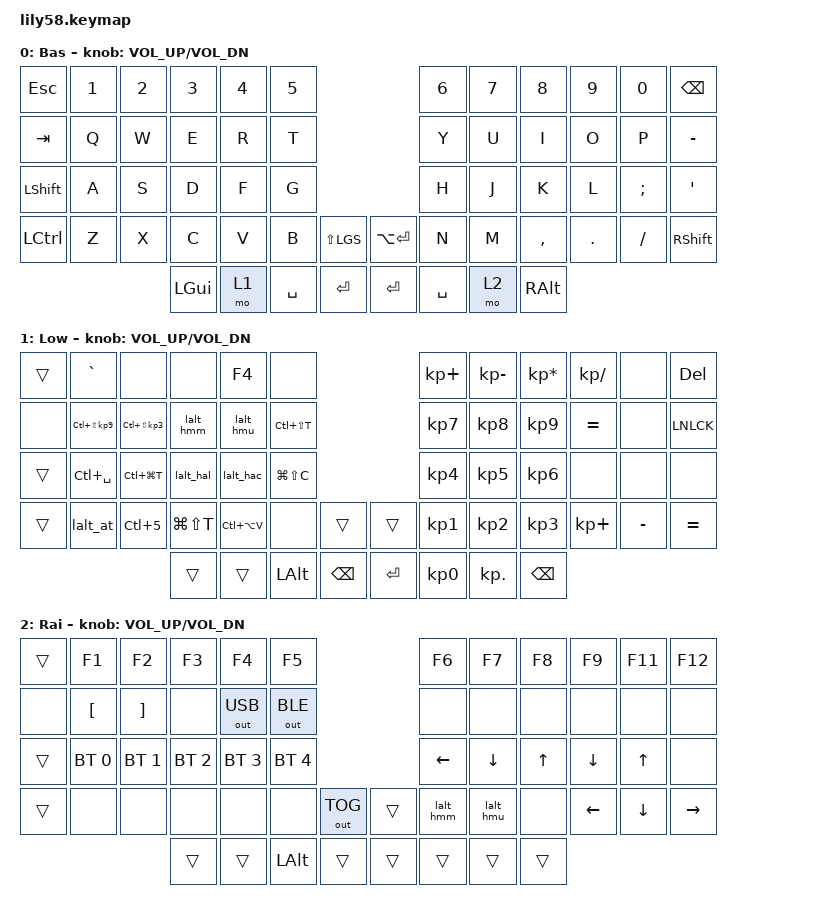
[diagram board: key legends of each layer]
/*
 * Copyright (c) 2020 The ZMK Contributors
 *
 * SPDX-License-Identifier: MIT
 */

#include <behaviors.dtsi>
#include <dt-bindings/zmk/bt.h>
#include <dt-bindings/zmk/keys.h>
#include <dt-bindings/zmk/outputs.h>

/ {
    macros {
        lalt_hmm: lalt_hmm {
            compatible = "zmk,behavior-macro";
            #binding-cells = <0>;
            bindings = <&kp LALT &kp H &kp M &kp M>;
        };

        lalt_hmu: lalt_hmu {
            compatible = "zmk,behavior-macro";
            #binding-cells = <0>;
            bindings = <&kp LALT &kp H &kp M &kp U>;
        };

        lalt_hac: lalt_hac {
            compatible = "zmk,behavior-macro";
            #binding-cells = <0>;
            bindings = <&kp LALT &kp H &kp A &kp C>;
        };

        lalt_hal: lalt_hal {
            compatible = "zmk,behavior-macro";
            #binding-cells = <0>;
            bindings = <&kp LALT &kp H &kp A &kp L>;
        };

        lalt_at: lalt_at {
            compatible = "zmk,behavior-macro";
            #binding-cells = <0>;
            bindings = <&kp LALT &kp A &kp T>;
        };
    };

    keymap {
        compatible = "zmk,keymap";

        default_layer {
            // ------------------------------------------------------------------------------------------------------------
            // |  ESC  |  1  |  2  |  3   |  4   |  5   |                   |  6   |  7    |  8    |  9   |   0   |   `   |
            // |  TAB  |  Q  |  W  |  E   |  R   |  T   |                   |  Y   |  U    |  I    |  O   |   P   |   -   |
            // |  CTRL |  A  |  S  |  D   |  F   |  G   |                   |  H   |  J    |  K    |  L   |   ;   |   '   |
            // | SHIFT |  Z  |  X  |  C   |  V   |  B   |   "["  |  |  "]"  |  N   |  M    |  ,    |  .   |   /   | SHIFT |
            //                     | ALT  | GUI  | LOWER|  SPACE |  | ENTER | RAISE| BSPC  | GUI   |

            display-name = "Bas";
            bindings = <
&kp ESC    &kp N1  &kp N2  &kp N3    &kp N4  &kp N5                                 &kp N6     &kp N7  &kp N8     &kp N9   &kp N0    &kp BSPC
&kp TAB    &kp Q   &kp W   &kp E     &kp R   &kp T                                  &kp Y      &kp U   &kp I      &kp O    &kp P     &kp MINUS
&kp LSHFT  &kp A   &kp S   &kp D     &kp F   &kp G                                  &kp H      &kp J   &kp K      &kp L    &kp SEMI  &kp SQT
&kp LCTRL  &kp Z   &kp X   &kp C     &kp V   &kp B      &kp LS(LGS)    &kp LA(RET)  &kp N      &kp M   &kp COMMA  &kp DOT  &kp FSLH  &kp RSHFT
                           &kp LGUI  &mo 1   &kp SPACE  &kp RET        &kp RET      &kp SPACE  &mo 2   &kp RALT
            >;

            sensor-bindings = <&inc_dec_kp C_VOL_UP C_VOL_DN>;
        };

        lower_layer {
            // ------------------------------------------------------------------------------------------------------------
            // | BTCLR | BT1 | BT2 |  BT3 |  BT4 |  BT5 |                   |      |       |       |      |       |       |
            // |  F1   |  F2 |  F3 |  F4  |  F5  |  F6  |                   |  F7  |  F8   |  F9   |  F10 |  F11  |  F12  |
            // |   `   |  !  |  @  |  #   |  $   |  %   |                   |  ^   |  &    |  *    |  (   |   )   |   ~   |
            // |       |     |     |      |      |      |        |  |       |      |  _    |  +    |  {   |   }   |  "|"  |
            //                     |      |      |      |        |  |       |      |       |       |

            display-name = "Low";
            bindings = <
&trans  &kp GRAVE          &none              &none          &kp F4         &none                               &kp KP_PLUS  &kp KP_MINUS  &kp KP_ASTERISK  &kp KP_SLASH  &none      &kp DEL
&none   &kp LC(LS(KP_N9))  &kp LC(LS(KP_N3))  &lalt_hmm      &lalt_hmu      &kp LC(LS(T))                       &kp KP_N7    &kp KP_N8     &kp KP_N9        &kp EQUAL     &none      &kp LNLCK
&trans  &kp LC(SPACE)      &kp LC(LG(T))      &lalt_hal      &lalt_hac      &kp LG(LS(C))                       &kp KP_N4    &kp KP_N5     &kp KP_N6        &none         &none      &none
&trans  &lalt_at           &kp LC(N5)         &kp LG(LS(T))  &kp LC(LA(V))  &none          &trans      &trans   &kp KP_N1    &kp KP_N2     &kp KP_N3        &kp KP_PLUS   &kp MINUS  &kp EQUAL
                                              &trans         &trans         &kp LALT       &kp BSPC    &kp RET  &kp KP_N0    &kp KP_DOT    &kp BSPC
            >;

            sensor-bindings = <&inc_dec_kp C_VOL_UP C_VOL_DN>;
        };

        raise_layer {
            // ------------------------------------------------------------------------------------------------------------
            // |       |     |     |      |      |      |                   |      |       |       |      |       |       |
            // |   `   |  1  |  2  |  3   |  4   |  5   |                   |  6   |   7   |   8   |  9   |   0   |       |
            // |   F1  |  F2 |  F3 |  F4  |  F5  |  F6  |                   |      |   <-  |   v   |  ^   |  ->   |       |
            // |   F7  |  F8 |  F9 |  F10 |  F11 |  F12 |        |  |       |  +   |   -   |   =   |  [   |   ]   |   \   |
            //                     |      |      |      |        |  |       |      |       |       |

            display-name = "Rai";
            bindings = <
&trans  &kp F1        &kp F2        &kp F3        &kp F4        &kp F5                                &kp F6          &kp F7     &kp F8        &kp F9          &kp F11   &kp F12
&none   &kp LBKT      &kp RBKT      &none         &out OUT_USB  &out OUT_BLE                          &none           &none      &none         &none           &none     &none
&trans  &bt BT_SEL 0  &bt BT_SEL 1  &bt BT_SEL 2  &bt BT_SEL 3  &bt BT_SEL 4                          &kp LEFT_ARROW  &kp DOWN   &kp UP_ARROW  &kp DOWN_ARROW  &kp UP    &none
&trans  &none         &none         &none         &none         &none         &out OUT_TOG    &trans  &lalt_hmm       &lalt_hmu  &none         &kp LEFT        &kp DOWN  &kp RIGHT
                                    &trans        &trans        &kp LALT      &trans          &trans  &trans          &trans     &trans
            >;

            sensor-bindings = <&inc_dec_kp C_VOL_UP C_VOL_DN>;
        };
    };
};
